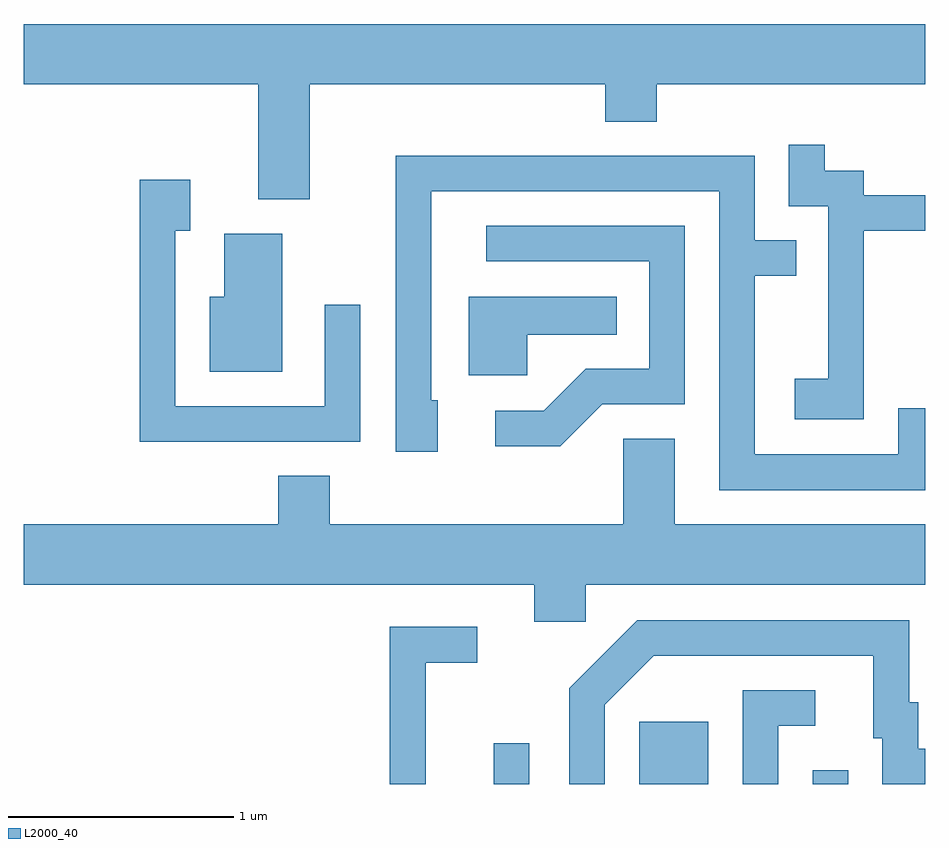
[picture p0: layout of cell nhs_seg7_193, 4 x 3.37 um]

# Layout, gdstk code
import gdstk
lib = gdstk.Library(unit=1e-6, precision=1e-09)
def R(c, l, rs):  # rectangles x0, y0, x1, y1
    for r in rs: c.add(gdstk.rectangle(r[:2], r[2:], *l))
def P(c, l, *ps):  # polygons
    for p in ps: c.add(gdstk.Polygon(p, *l))
L2000_40 = (2000, 40)

nhs_seg7_193 = lib.new_cell('nhs_seg7_193')
R(nhs_seg7_193, L2000_40, [(191.696,1782.252,191.854,1782.433), (192.341,1782.252,192.649,1782.529), (193.111,1782.252,193.269,1782.313)])
P(nhs_seg7_193, L2000_40, [(190.879,1785.356),(192.191,1785.356),(192.191,1785.191),(192.419,1785.191),(192.419,1785.356),(193.611,1785.356),(193.611,1785.624),(189.611,1785.624),(189.611,1785.356),(190.651,1785.356),(190.651,1784.846),(190.879,1784.846)],
  [(193.339,1784.706),(193.611,1784.706),(193.611,1784.864),(193.339,1784.864),(193.339,1784.974),(193.164,1784.974),(193.164,1785.088),(193.006,1785.088),(193.006,1784.816),(193.181,1784.816),(193.181,1784.049),(193.031,1784.049),(193.031,1783.871),(193.339,1783.871)],
  [(193.611,1783.919),(193.491,1783.919),(193.491,1783.714),(192.854,1783.714),(192.854,1784.506),(193.038,1784.506),(193.038,1784.664),(192.854,1784.664),(192.854,1785.039),(191.261,1785.039),(191.261,1783.726),(191.449,1783.726),(191.449,1783.954),(191.419,1783.954),(191.419,1784.881),(192.696,1784.881),(192.696,1783.556),(193.611,1783.556)],
  [(191.104,1784.378),(190.946,1784.378),(190.946,1783.929),(190.284,1783.929),(190.284,1784.706),(190.349,1784.706),(190.349,1784.934),(190.126,1784.934),(190.126,1783.771),(191.104,1783.771)],
  [(192.177,1783.936),(192.544,1783.936),(192.544,1784.729),(191.663,1784.729),(191.663,1784.571),(192.386,1784.571),(192.386,1784.094),(192.104,1784.094),(191.919,1783.909),(191.703,1783.909),(191.703,1783.751),(191.992,1783.751)],
  [(190.759,1784.694),(190.501,1784.694),(190.501,1784.414),(190.436,1784.414),(190.436,1784.081),(190.759,1784.081)],
  [(191.844,1784.246),(192.243,1784.246),(192.243,1784.414),(191.586,1784.414),(191.586,1784.066),(191.844,1784.066)],
  [(192.104,1783.136),(193.611,1783.136),(193.611,1783.404),(192.499,1783.404),(192.499,1783.784),(192.271,1783.784),(192.271,1783.404),(190.969,1783.404),(190.969,1783.619),(190.741,1783.619),(190.741,1783.404),(189.611,1783.404),(189.611,1783.136),(191.876,1783.136),(191.876,1782.971),(192.104,1782.971)],
  [(192.189,1782.604),(192.407,1782.821),(193.381,1782.821),(193.381,1782.456),(193.421,1782.456),(193.421,1782.252),(193.611,1782.252),(193.611,1782.409),(193.579,1782.409),(193.579,1782.614),(193.539,1782.614),(193.539,1782.979),(192.334,1782.979),(192.031,1782.677),(192.031,1782.252),(192.189,1782.252)],
  [(191.394,1782.791),(191.623,1782.791),(191.623,1782.949),(191.236,1782.949),(191.236,1782.252),(191.394,1782.252)],
  [(192.959,1782.511),(193.123,1782.511),(193.123,1782.669),(192.801,1782.669),(192.801,1782.252),(192.959,1782.252)])

lib.write_gds('nhs_seg7_193.gds')
